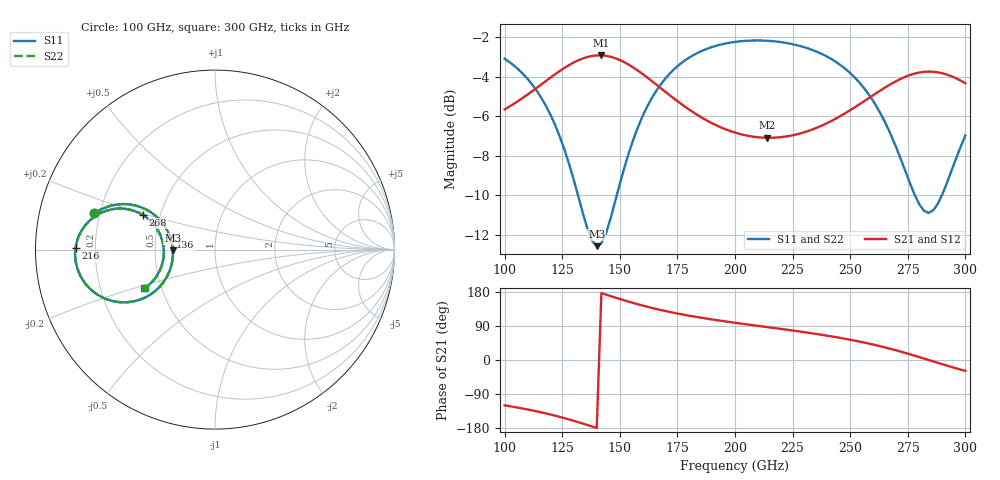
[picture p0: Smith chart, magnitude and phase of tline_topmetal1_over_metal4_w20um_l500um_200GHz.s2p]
#  GHZ S DB R 50
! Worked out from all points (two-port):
!   101 points, 100 GHz to 300 GHz, reference 50 ohm
!   highest |S21| = -2.92 dB at 142 GHz (marker M1); lowest = -7.1 dB at 214 GHz (marker M2)
!   |S21| within 3 dB of the highest: start of sweep to 183.5 GHz; 246.8 GHz to end of sweep
!   lowest |S11| = -12.6 dB at 140 GHz (marker M3), VSWR 1.61, Z = 31 - j0.208 ohm
!   |S11| at or under -10 dB: 131.9 GHz to 148.7 GHz (16.83 GHz wide, 12 % of centre); 278.1 GHz to 289.8 GHz (11.7 GHz wide, 4.12 % of centre)
!   |S22| runs from -12.6 to -2.2 dB; largest |S21 - S12| = 0
!   S11 on the Smith chart (normalised r, x): 100 GHz: 0.18, +0.14; 136 GHz: 0.59, +0.09; 216 GHz: 0.13, +0.01; 268 GHz: 0.40, +0.19; 300 GHz: 0.40, -0.22
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100  -3.08 163.3  -5.65 -119.7  -5.65 -119.7  -3.08 163.3
112  -4.40 155.4  -4.73 -133.0  -4.73 -133.0  -4.40 155.4
120  -5.94 150.9  -4.03 -144.0  -4.03 -144.0  -5.95 150.9
126  -7.70 149.8  -3.55 -153.5  -3.55 -153.5  -7.70 149.8
134  -10.92 158.5  -3.07 -167.9  -3.07 -167.9  -10.92 158.4
136  -11.70 164.3  -3.00 -171.7  -3.00 -171.7  -11.71 164.2
140  -12.57 -179.2  -2.92 -179.5  -2.92 -179.5  -12.58 -179.2
142  -12.43 -170.1  -2.92 176.6  -2.92 176.6  -12.44 -170.0
148  -10.30 -150.8  -3.06 164.8  -3.06 164.8  -10.31 -150.8
156  -7.13 -145.2  -3.54 150.2  -3.54 150.2  -7.13 -145.2
168  -4.35 -151.1  -4.60 131.6  -4.60 131.6  -4.35 -151.1
184  -2.78 -162.1  -5.95 112.9  -5.95 112.9  -2.78 -162.1
200  -2.23 -171.9  -6.83 98.3  -6.83 98.3  -2.24 -171.9
214  -2.18 -179.6  -7.09 86.8  -7.09 86.8  -2.18 -179.6
216  -2.19 179.3  -7.09 85.2  -7.09 85.2  -2.19 179.3
234  -2.66 169.5  -6.65 69.9  -6.65 69.9  -2.66 169.5
254  -4.29 158.3  -5.39 48.6  -5.39 48.6  -4.30 158.3
268  -7.03 154.4  -4.35 28.6  -4.35 28.6  -7.04 154.3
278  -9.98 164.8  -3.84 11.3  -3.84 11.3  -10.00 164.8
284  -10.89 -178.3  -3.74 0.1  -3.74 0.1  -10.91 -178.2
290  -9.95 -161.4  -3.82 -11.1  -3.82 -11.1  -9.97 -161.3
300  -6.97 -151.3  -4.33 -28.7  -4.33 -28.7  -6.98 -151.1
